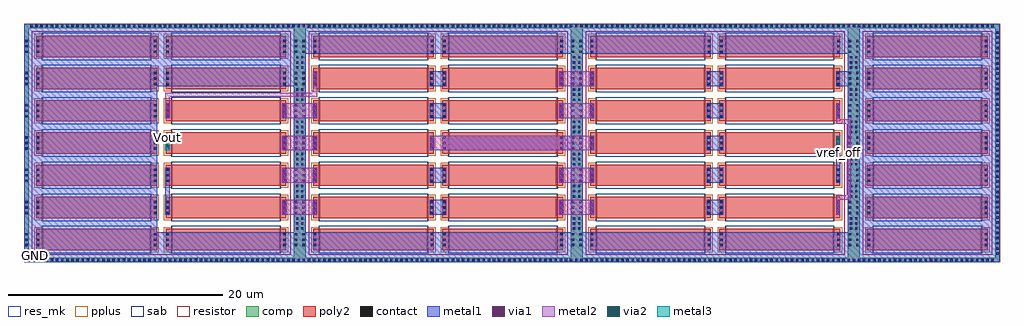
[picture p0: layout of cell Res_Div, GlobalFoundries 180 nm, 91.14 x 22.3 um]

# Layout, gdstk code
from math import pi, radians
import gdstk
lib = gdstk.Library(unit=1e-6, precision=1e-09)
def R(c, l, rs):  # rectangles x0, y0, x1, y1
    for r in rs: c.add(gdstk.rectangle(r[:2], r[2:], *l))
def A(c, l, x, y, w, h, nx, ny, dx, dy):  # array of equal rectangles
    R(c, l, [(x+i*dx, y+j*dy, x+i*dx+w, y+j*dy+h) for i in range(nx) for j in range(ny)])
comp = (22, 0)
poly2 = (30, 0)
pplus = (31, 0)
contact = (33, 0)
metal1 = (34, 0)
via1 = (35, 0)
metal2 = (36, 0)
via2 = (38, 0)
metal3 = (42, 0)
sab = (49, 0)
resistor = (62, 0)
res_mk = (110, 5)

ppolyf_u_high_rs_resisto = lib.new_cell('ppolyf_u_high_Rs_resistor$1')
R(ppolyf_u_high_rs_resisto, comp, [(-1.76,0,-1.34,2)])
R(ppolyf_u_high_rs_resisto, poly2, [(-0.64,0,10.64,2)])
R(ppolyf_u_high_rs_resisto, pplus, [(-0.82,-0.18,0,2.18), (10,-0.18,10.82,2.18), (-1.78,-0.02,-1.32,2.02)])
A(ppolyf_u_high_rs_resisto, contact, -1.66, 0.38, 0.22, 0.22, 1, 3, 0, 0.51)
A(ppolyf_u_high_rs_resisto, contact, -0.57, 0.38, 0.22, 0.22, 1, 3, 0, 0.51)
A(ppolyf_u_high_rs_resisto, contact, 10.35, 0.38, 0.22, 0.22, 1, 3, 0, 0.51)
R(ppolyf_u_high_rs_resisto, metal1, [(-1.74,0.3,-1.36,1.7), (-0.65,0.3,-0.27,1.7), (10.27,0.3,10.65,1.7)])
R(ppolyf_u_high_rs_resisto, sab, [(-0.1,-0.28,10.1,2.28)])
R(ppolyf_u_high_rs_resisto, resistor, [(-1.04,-0.4,11.04,2.4)])
R(ppolyf_u_high_rs_resisto, res_mk, [(0,0,10,2)])

via_dev = lib.new_cell('via_dev')
R(via_dev, comp, [(0,0,1.1,1.6)])
A(via_dev, contact, 0.2, 0.21, 0.22, 0.22, 1, 3, 0, 0.48)
A(via_dev, contact, 0.68, 0.21, 0.22, 0.22, 1, 3, 0, 0.48)
R(via_dev, metal1, [(0,0,1.1,1.6)])

via_dev_2 = lib.new_cell('via_dev$2')
R(via_dev_2, comp, [(0,0,0.42,21.46)])
A(via_dev_2, contact, 0.1, 0.3, 0.22, 0.22, 1, 44, 0, 0.48)
R(via_dev_2, metal1, [(0,0,0.42,21.46)])

via_dev_3 = lib.new_cell('via_dev$3')
R(via_dev_3, comp, [(0,0,90.26,0.4)])
A(via_dev_3, contact, 0.14, 0.09, 0.22, 0.22, 188, 1, 0.48, 0)
R(via_dev_3, metal1, [(0,0,90.26,0.4)])

via_dev_4 = lib.new_cell('via_dev$4')
R(via_dev_4, metal1, [(0,0,0.4,1.4)])
R(via_dev_4, via1, [(0.07,0.305,0.33,0.565), (0.07,0.835,0.33,1.095)])
R(via_dev_4, metal2, [(0,0,0.4,1.4)])
R(via_dev_4, via2, [(0.07,0.305,0.33,0.565), (0.07,0.835,0.33,1.095)])
R(via_dev_4, metal3, [(0,0,0.4,1.4)])

via_dev_5 = lib.new_cell('via_dev$5')
R(via_dev_5, metal1, [(0,0,0.4,1.4)])
R(via_dev_5, via1, [(0.07,0.305,0.33,0.565), (0.07,0.835,0.33,1.095)])
R(via_dev_5, metal2, [(0,0,0.4,1.4)])

res_div = lib.new_cell('Res_Div')
A(res_div, comp, 10.63, -14.845, 0.775, 2, 3, 2, 25.86, 6.02)
A(res_div, comp, 10.63, -5.815, 0.775, 2, 3, 2, 25.86, 3.01)
R(res_div, comp, [(-14.595,-15.945,-14.175,-15.545), (76.085,-15.945,76.505,-15.545), (36.445,-15.585,37.545,5.93), (10.585,-15.57,11.685,5.96), (62.305,-15.56,63.405,5.95), (-14.595,-15.545,-14.175,5.915), (36.49,-11.835,37.265,-9.835), (62.35,-11.835,63.125,-9.835), (-14.595,5.915,-14.175,6.315), (76.085,5.915,76.505,6.315)])
A(res_div, pplus, 10.565, -11.855, 1.14, 2.04, 3, 4, 25.86, 3.01)
R(res_div, pplus, [(-14.615,-15.865,-14.155,6.275), (10.565,-15.67,11.705,5.995), (76.065,-15.63,76.525,6.255), (36.425,-15.615,37.565,5.96), (62.285,-15.59,63.425,5.985), (10.565,-11.855,11.705,-9.815)])
A(res_div, metal1, 10.775, -14.545, 0.72, 1.4, 3, 2, 25.86, 12.04)
A(res_div, metal1, 23.46, -14.545, 1.16, 1.4, 1, 3, 0, 3.01)
A(res_div, metal1, 49.32, -14.545, 1.16, 1.4, 1, 7, 0, 3.01)
A(res_div, metal1, 62.495, -11.535, 0.72, 1.4, 1, 3, 0, 3.01)
A(res_div, metal1, 23.46, -2.505, 1.16, 1.4, 1, 3, 0, 3.01)
R(res_div, metal1, [(-14.595,-15.945,-14.175,-15.545), (76.085,-15.945,76.505,-15.545), (-14.31,-15.685,-2.185,6.035), (62.305,-15.685,76.22,6.035), (-2.245,-15.665,64.385,-13.145), (10.585,-15.625,11.685,5.965), (36.445,-15.58,37.545,5.925), (62.305,-15.565,63.405,5.955), (-14.595,-15.56,-14.175,5.915), (36.635,-11.535,37.355,-10.135), (-1.405,-10.22,-1.025,-8.155), (10.775,-8.525,11.495,-7.125), (61.225,-8.525,61.625,-5.42), (24.505,-5.515,36.545,-4.115), (36.635,-5.515,37.355,-4.115), (-2.37,0.505,10.605,3.7), (10.775,0.505,11.495,1.905), (61.42,0.505,62.47,1.905), (62.495,0.505,63.215,1.905), (-2.245,3.515,64.385,6.035), (-14.595,5.915,-14.175,6.315), (76.085,5.915,76.505,6.315)])
A(res_div, metal2, 9.635, -11.535, 2.955, 1.4, 1, 4, 0, 3.01)
R(res_div, metal2, [(35.495,-11.535,38.45,-10.135), (35.495,-8.525,38.45,-7.125), (23.51,-5.515,38.45,-4.115), (35.495,-2.505,38.45,-1.105), (35.495,0.505,38.45,1.905)])
A(res_div, resistor, -13.875, -12.47, 24.16, 0.265, 1, 6, 0, 3.01)
A(res_div, resistor, 11.985, -12.47, 12.08, 0.265, 1, 6, 0, 3.01)
A(res_div, resistor, 24.065, -12.47, 12.08, 0.235, 1, 4, 0, 3.01)
A(res_div, resistor, 37.845, -12.47, 12.08, 0.265, 1, 6, 0, 3.01)
A(res_div, resistor, 49.925, -12.47, 12.08, 0.265, 1, 6, 0, 3.01)
A(res_div, resistor, 63.705, -12.47, 12.08, 0.265, 1, 6, 0, 3.01)
R(res_div, resistor, [(24.065,-0.405,36.145,-0.195), (24.065,2.605,36.145,2.815)])
res_div.add(gdstk.FlexPath([(-14.615,6.115),(76.525,6.115)], 0.44, ends="flush", simple_path=True, layer=31, datatype=0))  # pplus
res_div.add(gdstk.FlexPath([(-14.615,-15.745),(76.525,-15.745)], 0.44, ends="flush", simple_path=True, layer=31, datatype=0))  # pplus
res_div.add(gdstk.FlexPath([(61.425,-10.565),(61.425,-9.9),(62.41,-9.9),(62.41,-2.815),(61.425,-2.815),(61.425,-1.105)], 0.4, ends="flush", simple_path=True, layer=36, datatype=0))  # metal2
res_div.add(gdstk.FlexPath([(-1.215,-1.54),(-1.215,-0.3),(12.565,-0.3),(12.565,1.905)], 0.4, ends="flush", simple_path=True, layer=36, datatype=0))  # metal2
res_div.add(gdstk.Reference(ppolyf_u_high_rs_resisto, (9.245,0.205), rotation=pi, x_reflection=True))
res_div.add(gdstk.Reference(ppolyf_u_high_rs_resisto, (60.965,0.205), rotation=pi, x_reflection=True))
res_div.add(gdstk.Reference(ppolyf_u_high_rs_resisto, (13.025,0.205)))
res_div.add(gdstk.Reference(ppolyf_u_high_rs_resisto, (38.885,0.205)))
res_div.add(gdstk.Reference(ppolyf_u_high_rs_resisto, (38.885,-2.805)))
res_div.add(gdstk.Reference(ppolyf_u_high_rs_resisto, (13.025,-2.805)))
res_div.add(gdstk.Reference(ppolyf_u_high_rs_resisto, (60.965,-2.805), rotation=pi, x_reflection=True))
res_div.add(gdstk.Reference(ppolyf_u_high_rs_resisto, (35.105,-2.805), rotation=pi, x_reflection=True))
res_div.add(gdstk.Reference(ppolyf_u_high_rs_resisto, (38.885,-5.815)))
res_div.add(gdstk.Reference(ppolyf_u_high_rs_resisto, (13.025,-5.815)))
res_div.add(gdstk.Reference(ppolyf_u_high_rs_resisto, (60.965,-5.815), rotation=pi, x_reflection=True))
res_div.add(gdstk.Reference(ppolyf_u_high_rs_resisto, (35.105,-5.815), rotation=pi, x_reflection=True))
res_div.add(gdstk.Reference(ppolyf_u_high_rs_resisto, (9.245,-5.815), rotation=pi, x_reflection=True))
res_div.add(gdstk.Reference(ppolyf_u_high_rs_resisto, (38.885,-8.825)))
res_div.add(gdstk.Reference(ppolyf_u_high_rs_resisto, (13.025,-8.825)))
res_div.add(gdstk.Reference(ppolyf_u_high_rs_resisto, (60.965,-8.825), rotation=pi, x_reflection=True))
res_div.add(gdstk.Reference(ppolyf_u_high_rs_resisto, (35.105,-8.825), rotation=pi, x_reflection=True))
res_div.add(gdstk.Reference(ppolyf_u_high_rs_resisto, (9.245,-8.825), rotation=pi, x_reflection=True))
res_div.add(gdstk.Reference(ppolyf_u_high_rs_resisto, (38.885,-11.835)))
res_div.add(gdstk.Reference(ppolyf_u_high_rs_resisto, (13.025,-11.835)))
res_div.add(gdstk.Reference(ppolyf_u_high_rs_resisto, (60.965,-11.835), rotation=pi, x_reflection=True))
res_div.add(gdstk.Reference(ppolyf_u_high_rs_resisto, (35.105,-11.835), rotation=pi, x_reflection=True))
res_div.add(gdstk.Reference(ppolyf_u_high_rs_resisto, (9.245,-11.835), rotation=pi, x_reflection=True))
res_div.add(gdstk.Reference(via_dev, (10.585,-1.095)))
res_div.add(gdstk.Reference(via_dev, (10.585,-4.105)))
res_div.add(gdstk.Reference(via_dev, (10.585,-7.115)))
res_div.add(gdstk.Reference(via_dev, (10.585,-10.125)))
res_div.add(gdstk.Reference(via_dev, (36.445,-1.095)))
res_div.add(gdstk.Reference(via_dev, (36.445,-4.105)))
res_div.add(gdstk.Reference(via_dev, (36.445,-7.115)))
res_div.add(gdstk.Reference(via_dev, (36.445,-10.125)))
res_div.add(gdstk.Reference(via_dev_2, (76.085,5.915), x_reflection=True))
res_div.add(gdstk.Reference(via_dev_3, (-14.175,5.915)))
res_div.add(gdstk.Reference(via_dev_3, (-14.175,-15.945)))
res_div.add(gdstk.Reference(ppolyf_u_high_rs_resisto, (64.745,0.205)))
res_div.add(gdstk.Reference(ppolyf_u_high_rs_resisto, (64.745,-2.805)))
res_div.add(gdstk.Reference(ppolyf_u_high_rs_resisto, (64.745,-5.815)))
res_div.add(gdstk.Reference(ppolyf_u_high_rs_resisto, (64.745,-8.825)))
res_div.add(gdstk.Reference(ppolyf_u_high_rs_resisto, (64.745,-11.835)))
res_div.add(gdstk.Reference(via_dev, (36.445,-13.135)))
res_div.add(gdstk.Reference(via_dev, (36.445,1.915)))
res_div.add(gdstk.Reference(via_dev, (62.305,-1.095)))
res_div.add(gdstk.Reference(via_dev, (62.305,-4.105)))
res_div.add(gdstk.Reference(ppolyf_u_high_rs_resisto, (38.885,-14.845)))
res_div.add(gdstk.Reference(ppolyf_u_high_rs_resisto, (-12.835,0.205)))
res_div.add(gdstk.Reference(ppolyf_u_high_rs_resisto, (-12.835,-2.805)))
res_div.add(gdstk.Reference(ppolyf_u_high_rs_resisto, (13.025,-14.845)))
res_div.add(gdstk.Reference(ppolyf_u_high_rs_resisto, (-12.835,-5.815)))
res_div.add(gdstk.Reference(ppolyf_u_high_rs_resisto, (60.965,-14.845), rotation=pi, x_reflection=True))
res_div.add(gdstk.Reference(ppolyf_u_high_rs_resisto, (-12.835,-8.825)))
res_div.add(gdstk.Reference(ppolyf_u_high_rs_resisto, (35.105,-14.845), rotation=pi, x_reflection=True))
res_div.add(gdstk.Reference(ppolyf_u_high_rs_resisto, (-12.835,-11.835)))
res_div.add(gdstk.Reference(ppolyf_u_high_rs_resisto, (9.245,-14.845), rotation=pi, x_reflection=True))
res_div.add(gdstk.Reference(via_dev, (10.585,-13.135)))
res_div.add(gdstk.Reference(via_dev, (62.305,-7.115)))
res_div.add(gdstk.Reference(ppolyf_u_high_rs_resisto, (64.745,-14.845)))
res_div.add(gdstk.Reference(via_dev, (62.305,-10.125)))
res_div.add(gdstk.Reference(ppolyf_u_high_rs_resisto, (-12.835,-14.845)))
res_div.add(gdstk.Reference(ppolyf_u_high_rs_resisto, (9.245,3.215), rotation=pi, x_reflection=True))
res_div.add(gdstk.Reference(ppolyf_u_high_rs_resisto, (35.105,3.215), rotation=pi, x_reflection=True))
res_div.add(gdstk.Reference(ppolyf_u_high_rs_resisto, (60.965,3.215), rotation=pi, x_reflection=True))
res_div.add(gdstk.Reference(ppolyf_u_high_rs_resisto, (13.025,3.215)))
res_div.add(gdstk.Reference(ppolyf_u_high_rs_resisto, (38.885,3.215)))
res_div.add(gdstk.Reference(via_dev, (10.585,1.915)))
res_div.add(gdstk.Reference(via_dev, (62.305,-13.135)))
res_div.add(gdstk.Reference(ppolyf_u_high_rs_resisto, (64.745,3.215)))
res_div.add(gdstk.Reference(via_dev, (62.305,1.915)))
res_div.add(gdstk.Reference(ppolyf_u_high_rs_resisto, (-12.835,3.215)))
res_div.add(gdstk.Reference(via_dev_4, (-1.415,-5.515)))
res_div.add(gdstk.Reference(via_dev_4, (61.225,-5.515)))
res_div.add(gdstk.Reference(via_dev_5, (38.225,0.505)))
res_div.add(gdstk.Reference(via_dev_5, (35.365,0.505)))
res_div.add(gdstk.Reference(via_dev_5, (38.225,-2.505)))
res_div.add(gdstk.Reference(via_dev_5, (35.365,-2.505)))
res_div.add(gdstk.Reference(via_dev_5, (38.225,-8.525)))
res_div.add(gdstk.Reference(via_dev_5, (35.365,-8.525)))
res_div.add(gdstk.Reference(via_dev_5, (38.225,-11.535)))
res_div.add(gdstk.Reference(via_dev_5, (35.365,-11.535)))
res_div.add(gdstk.Reference(via_dev_5, (23.285,-5.515)))
res_div.add(gdstk.Reference(via_dev_5, (38.225,-5.515)))
res_div.add(gdstk.Reference(via_dev_5, (12.365,-5.515)))
res_div.add(gdstk.Reference(via_dev_5, (9.505,-5.515)))
res_div.add(gdstk.Reference(via_dev_5, (12.365,-8.525)))
res_div.add(gdstk.Reference(via_dev_5, (9.505,-8.525)))
res_div.add(gdstk.Reference(via_dev_5, (12.365,-11.535)))
res_div.add(gdstk.Reference(via_dev_5, (9.505,-11.535)))
res_div.add(gdstk.Reference(via_dev_5, (61.225,-11.535)))
res_div.add(gdstk.Reference(via_dev_5, (61.225,-2.505)))
res_div.add(gdstk.Reference(via_dev_5, (12.365,-2.505)))
res_div.add(gdstk.Reference(via_dev_5, (9.505,-2.505)))
res_div.add(gdstk.Reference(via_dev_5, (-1.415,-2.505)))
res_div.add(gdstk.Reference(via_dev_5, (12.365,0.505)))
res_div.add(gdstk.Reference(ppolyf_u_high_rs_resisto, (35.105,0.205), rotation=pi, x_reflection=True))
res_div.add(gdstk.Reference(ppolyf_u_high_rs_resisto, (9.245,-2.805), rotation=pi, x_reflection=True))
res_div.add(gdstk.Label('GND', (-13.5,-15.325), layer=34, texttype=10))
res_div.add(gdstk.Label('Vout', (-1.24,-4.3), layer=34, texttype=10))
res_div.add(gdstk.Label('vref_off', (61.405,-5.705), layer=34, texttype=10))

lib.write_gds('Res_Div.gds')
